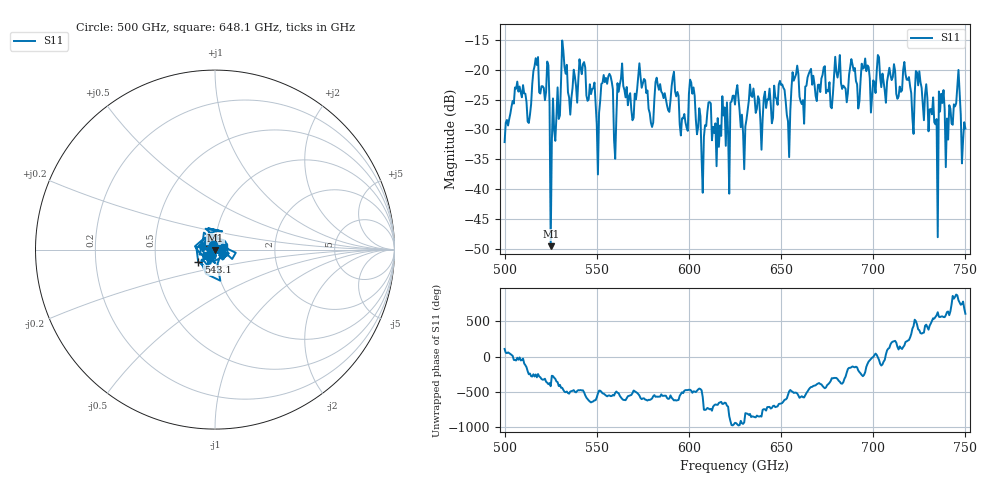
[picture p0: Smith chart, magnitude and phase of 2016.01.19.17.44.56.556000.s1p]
!Created with skrf (http://scikit-rf.org).
# GHz S RI R 50.0
!freq ReS11 ImS11
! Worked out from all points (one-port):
!   401 points, 500 GHz to 750 GHz, reference 50 ohm
!   lowest |S11| = -49.5 dB at 525 GHz (marker M1), VSWR 1.01, Z = 50.2 - j0.282 ohm
!   |S11| at or under -10 dB: start of sweep to end of sweep
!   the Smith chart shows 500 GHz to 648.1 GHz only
!   S11 on the Smith chart (normalised r, x): 500 GHz: 0.98, +0.05; 543.1 GHz: 0.82, -0.11; 648.1 GHz: 1.10, +0.03
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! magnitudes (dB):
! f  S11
! 500 GHz  -32.1
! 506.9 GHz  -22.0
! 513.1 GHz  -28.9
! 516.9 GHz  -18.1
! 523.1 GHz  -18.6
! 525 GHz  -49.5
! 526.2 GHz  -24.8
! 531.2 GHz  -15.1
! 543.1 GHz  -18.7
! 550.6 GHz  -37.5
! 553.8 GHz  -20.9
! 560.6 GHz  -28.1
! 562.5 GHz  -22.5
! 593.8 GHz  -23.7
! 601.9 GHz  -24.0
! 608.1 GHz  -31.3
! 610.6 GHz  -25.5
! 625 GHz  -25.8
! 629.4 GHz  -30.6
! 633.8 GHz  -24.4
! 648.1 GHz  -25.9
! 653.8 GHz  -28.6
! 656.2 GHz  -20.4
! 687.5 GHz  -19.6
! 718.8 GHz  -21.7
! 733.8 GHz  -29.1
! 745.6 GHz  -22.9
! 750 GHz  -29.9
